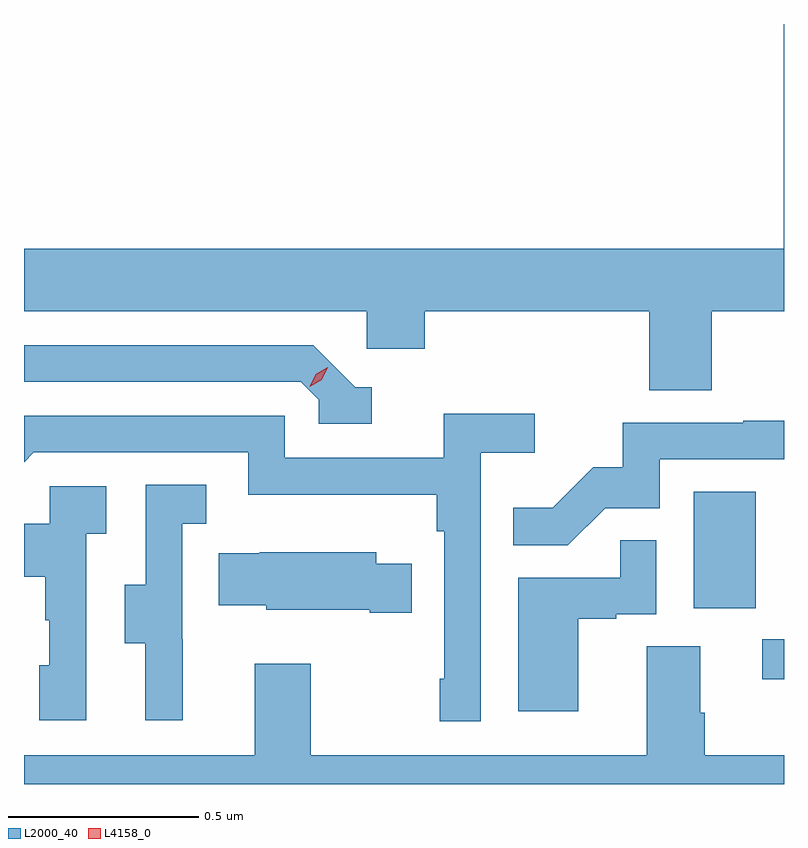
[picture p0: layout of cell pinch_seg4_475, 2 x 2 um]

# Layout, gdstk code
import gdstk
lib = gdstk.Library(unit=1e-6, precision=1e-09)
def R(c, l, rs):  # rectangles x0, y0, x1, y1
    for r in rs: c.add(gdstk.rectangle(r[:2], r[2:], *l))
def P(c, l, *ps):  # polygons
    for p in ps: c.add(gdstk.Polygon(p, *l))
L2000_40 = (2000, 40)
L4158_0 = (4158, 0)

pinch_seg4_475 = lib.new_cell('pinch_seg4_475')
R(pinch_seg4_475, L2000_40, [(906.801,758.556,906.858,758.661), (906.62,758.742,906.784,759.049)])
P(pinch_seg4_475, L2000_40, [(906.668,759.524),(906.858,759.524),(906.858,760.28),(906.857,760.28),(906.857,759.688),(904.858,759.688),(904.858,759.524),(905.76,759.524),(905.76,759.426),(905.912,759.426),(905.912,759.524),(906.503,759.524),(906.503,759.316),(906.668,759.316)],
  [(905.773,759.324),(905.73,759.324),(905.619,759.435),(904.858,759.435),(904.858,759.339),(905.586,759.339),(905.634,759.291),(905.634,759.228),(905.773,759.228)],
  [(906.06,759.152),(906.202,759.152),(906.202,759.254),(905.963,759.254),(905.963,759.138),(905.544,759.138),(905.544,759.249),(904.858,759.249),(904.858,759.127),(904.884,759.153),(905.448,759.153),(905.448,759.041),(905.944,759.041),(905.944,758.945),(905.964,758.945),(905.964,758.557),(905.952,758.557),(905.952,758.445),(906.06,758.445)],
  [(906.387,759.006),(906.531,759.006),(906.531,759.135),(906.858,759.135),(906.858,759.236),(906.751,759.236),(906.751,759.231),(906.433,759.231),(906.433,759.114),(906.356,759.114),(906.249,759.007),(906.145,759.007),(906.145,758.908),(906.289,758.908)],
  [(905.276,758.661),(905.274,758.661),(905.274,758.965),(905.338,758.965),(905.338,759.068),(905.178,759.068),(905.178,758.805),(905.123,758.805),(905.123,758.65),(905.177,758.65),(905.177,758.448),(905.276,758.448)],
  [(905.022,758.939),(905.074,758.939),(905.074,759.063),(904.926,759.063),(904.926,758.965),(904.858,758.965),(904.858,758.825),(904.914,758.825),(904.914,758.711),(904.924,758.711),(904.924,758.592),(904.898,758.592),(904.898,758.448),(905.022,758.448)],
  [(906.316,758.715),(906.416,758.715),(906.416,758.727),(906.522,758.727),(906.522,758.921),(906.427,758.921),(906.427,758.823),(906.158,758.823),(906.158,758.472),(906.316,758.472)],
  [(905.879,758.86),(905.785,758.86),(905.785,758.89),(905.479,758.89),(905.479,758.887),(905.371,758.887),(905.371,758.75),(905.496,758.75),(905.496,758.738),(905.768,758.738),(905.768,758.731),(905.879,758.731)],
  [(906.858,758.356),(906.65,758.356),(906.65,758.468),(906.637,758.468),(906.637,758.642),(906.497,758.642),(906.497,758.356),(905.613,758.356),(905.613,758.596),(905.465,758.596),(905.465,758.356),(904.858,758.356),(904.858,758.28),(906.858,758.28)])
P(pinch_seg4_475, L4158_0, [(905.61,759.325),(905.61,759.325),(905.626,759.358),(905.657,759.377),(905.657,759.377),(905.657,759.377),(905.641,759.344),(905.61,759.325)])

lib.write_gds('pinch_seg4_475.gds')
